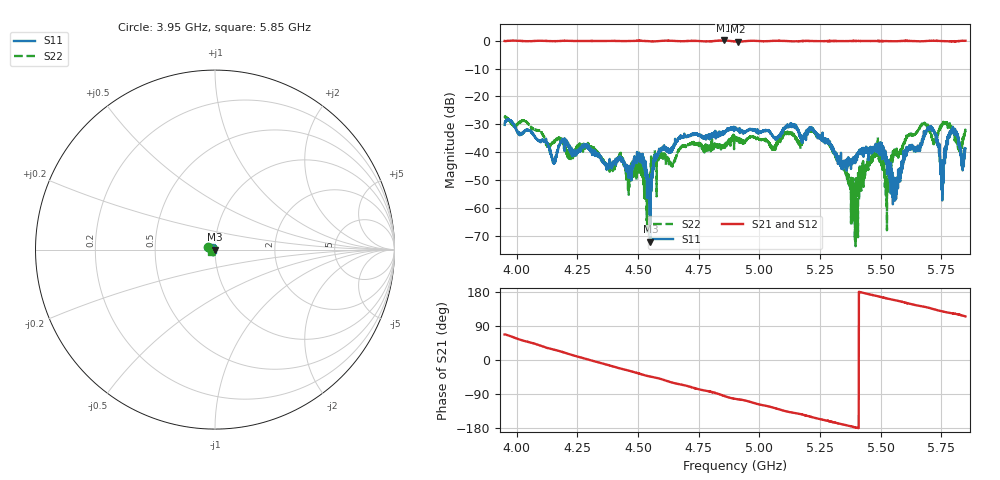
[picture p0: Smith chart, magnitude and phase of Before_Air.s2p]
# GHZ S RI R 50.000000000000
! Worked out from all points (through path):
!   4501 points, 3.95 GHz to 5.85 GHz, reference 50 ohm
!   highest |S21| = 0.14 dB at 4.853 GHz (marker M1); lowest = -0.3 dB at 4.911 GHz (marker M2)
!   group delay of S21, straight-line fit = 451 ps
!   lowest |S11| = -72.2 dB at 4.551 GHz (marker M3), VSWR 1.00, Z = 50 + j0.0101 ohm
!   |S11| at or under -10 dB: start of sweep to end of sweep
!   |S22| runs from -73.8 to -27.0 dB; largest |S21 - S12| = 0.022
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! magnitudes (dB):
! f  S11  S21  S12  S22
! 3.95 GHz  -30.2  -0.1  -0.1  -27.7
! 4.153 GHz  -43.7  -0.1  -0.1  -36.6
! 4.267 GHz  -38.1  -0.1  -0.1  -37.8
! 4.509 GHz  -42.5  0.0  0.0  -47.0
! 4.536 GHz  -48.4  -0.1  -0.1  -62.2
! 4.551 GHz  -72.2  -0.2  -0.1  -51.1
! 4.584 GHz  -40.7  -0.1  -0.2  -42.9
! 4.853 GHz  -32.7  0.1  0.2  -37.0
! 4.9 GHz  -31.3  -0.2  -0.1  -34.4
! 4.911 GHz  -32.1  -0.3  -0.2  -35.8
! 5.217 GHz  -31.7  -0.1  0.0  -32.7
! 5.388 GHz  -41.9  0.0  -0.1  -49.4
! 5.48 GHz  -37.0  -0.1  0.0  -40.2
! 5.534 GHz  -46.9  -0.1  0.0  -48.8
! 5.56 GHz  -52.5  -0.1  -0.1  -39.2
! 5.609 GHz  -39.1  0.0  -0.1  -34.5
! 5.673 GHz  -35.2  -0.2  -0.1  -30.1
! 5.717 GHz  -32.1  0.0  0.0  -35.8
! 5.753 GHz  -48.8  -0.1  -0.1  -29.8
! 5.795 GHz  -32.9  -0.2  -0.2  -31.8
! 5.826 GHz  -38.1  -0.1  -0.1  -39.1
! 5.85 GHz  -38.7  0.0  0.1  -32.2
